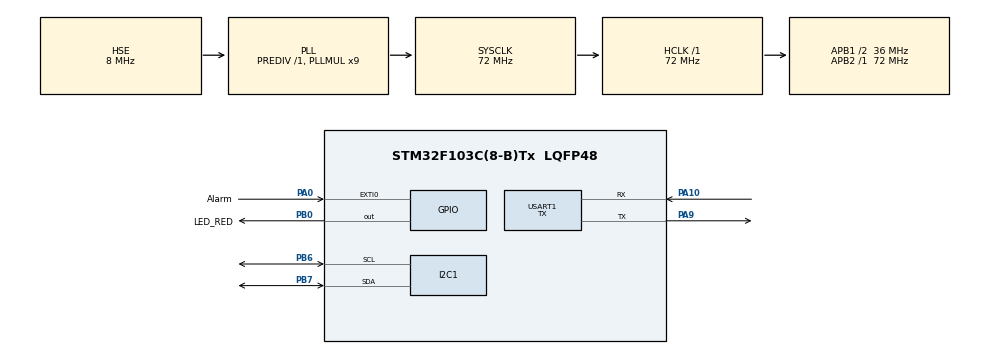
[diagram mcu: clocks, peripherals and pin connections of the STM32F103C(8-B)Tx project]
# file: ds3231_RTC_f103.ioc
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Mcu.Family=STM32F1
Mcu.Name=STM32F103C(8-B)Tx
Mcu.Package=LQFP48
NVIC.EXTI0_IRQn=true\:0\:0\:false\:false\:true\:true\:true
NVIC.PriorityGroup=NVIC_PRIORITYGROUP_4
PA0-WKUP.GPIO_Label=Alarm
PA0-WKUP.GPIO_ModeDefaultEXTI=GPIO_MODE_IT_FALLING
PA0-WKUP.GPIO_PuPd=GPIO_PULLUP
PA0-WKUP.Signal=GPXTI0
PA10.Mode=Asynchronous
PA10.Signal=USART1_RX
PA13.Mode=Serial_Wire
PA13.Signal=SYS_JTMS-SWDIO
PA14.Mode=Serial_Wire
PA14.Signal=SYS_JTCK-SWCLK
PA9.Mode=Asynchronous
PA9.Signal=USART1_TX
PB0.GPIO_Label=LED_RED
PB0.Signal=GPIO_Output
PB6.Mode=I2C
PB6.Signal=I2C1_SCL
PB7.Mode=I2C
PB7.Signal=I2C1_SDA
PD0-OSC_IN.Mode=HSE-External-Oscillator
PD0-OSC_IN.Signal=RCC_OSC_IN
PD1-OSC_OUT.Mode=HSE-External-Oscillator
PD1-OSC_OUT.Signal=RCC_OSC_OUT
ProjectManager.HeapSize=0x200
ProjectManager.StackSize=0x400
ProjectManager.TargetToolchain=SW4STM32
RCC.AHBFreq_Value=72000000
RCC.APB1CLKDivider=RCC_HCLK_DIV2
RCC.APB1Freq_Value=36000000
RCC.APB1TimFreq_Value=72000000
RCC.APB2Freq_Value=72000000
RCC.APB2TimFreq_Value=72000000
RCC.HCLKFreq_Value=72000000
RCC.PLLMUL=RCC_PLL_MUL9
RCC.PLLSourceVirtual=RCC_PLLSOURCE_HSE
RCC.RTCClockSelection=RCC_RTCCLKSOURCE_HSE_DIV128
RCC.SYSCLKFreq_VALUE=72000000
RCC.SYSCLKSource=RCC_SYSCLKSOURCE_PLLCLK
RCC.USBFreq_Value=72000000
USART1.Mode=MODE_TX
USART1.VirtualMode=VM_ASYNC
VP_RTC_VS_RTC_Activate.Mode=RTC_Enabled
VP_RTC_VS_RTC_Calendar.Mode=RTC_Calendar
board=custom

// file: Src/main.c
/* USER CODE BEGIN Header */
/**
  ******************************************************************************
  * @file           : main.c
  * @brief          : Main program body
  ******************************************************************************
  * @attention
  *
  * <h2><center>&copy; Copyright (c) 2019 STMicroelectronics.
  * All rights reserved.</center></h2>
  *
  * This software component is licensed by ST under BSD 3-Clause license,
  * the "License"; You may not use this file except in compliance with the
  * License. You may obtain a copy of the License at:
  *                        opensource.org/licenses/BSD-3-Clause
  *
  ******************************************************************************
  */
/* USER CODE END Header */
#include "main.h"
#include "i2c.h"
#include "rtc.h"
#include "usart.h"
#include "gpio.h"

/* USER CODE BEGIN Includes */

#include <string.h>
#include "i2c_techmaker_sm.h"
#include "ds3231_sm.h"
	#include <string.h>
	#include <stdio.h>

/* USER CODE END Includes */

void SystemClock_Config(void);

/* USER CODE BEGIN 0 */

volatile uint8_t ds3231_alarm_u8 = 0 ;

/* USER CODE END 0 */

int main(void)
{
  /* USER CODE BEGIN 1 */

	char DataChar[100];
	uint32_t counter_u32 = 0;

	#define ADR_I2C_DS3231 0x68
	RTC_TimeTypeDef TimeSt;
	RTC_DateTypeDef DateSt;

  /* USER CODE END 1 */

  /* MCU Configuration--------------------------------------------------------*/

  /* Reset of all peripherals, Initializes the Flash interface and the Systick. */
  HAL_Init();

  /* Configure the system clock */
  SystemClock_Config();

  /* Initialize all configured peripherals */
  MX_GPIO_Init();
  MX_I2C1_Init();
  MX_RTC_Init();
  MX_USART1_UART_Init();
  /* USER CODE BEGIN 2 */

	sprintf(DataChar,"\r\nDS3231_RTC_f103-2019 v1.2.0 (Alarm)\r\nUART1 for debug started on speed 115200\r\n");
	HAL_UART_Transmit(&huart1, (uint8_t *)DataChar, strlen(DataChar), 100);

	I2Cdev_init(&hi2c1);
	I2C_ScanBusFlow(&hi2c1, &huart1);

//			TimeSt.Seconds = 0x03 ;
//			TimeSt.Minutes = 0x44 ;
//			TimeSt.Hours   = 0x21 ;
//			ds3231_SetTime(ADR_I2C_DS3231, &TimeSt);
//
//			DateSt.Date		= 0x07 ;
//			DateSt.Month	= 0x09 ;	// ???	The century	bit (bit 7 of the month register) is toggled when the years	register overflows from 99 to 00 ???
//			DateSt.Year		= 0x19 ;
//			DateSt.WeekDay	= 0x06 ;
//			ds3231_SetDate(ADR_I2C_DS3231, &DateSt);

	ds3231_GetTime(ADR_I2C_DS3231, &TimeSt);
	ds3231_GetDate(ADR_I2C_DS3231, &DateSt);

//	HAL_RTC_SetTime( &hrtc, &TimeSt, RTC_FORMAT_BIN );
//	HAL_RTC_SetDate( &hrtc, &DateSt, RTC_FORMAT_BIN );

	ds3231_PrintTime(&TimeSt, &huart1);
	ds3231_PrintDate(&DateSt, &huart1);

	//ds3231_Alarm1_SetSeconds(ADR_I2C_DS3231, 0x00);
	ds3231_Alarm1_SetEverySeconds(ADR_I2C_DS3231);
	ds3231_Alarm1_ClearStatusBit(ADR_I2C_DS3231);

  /* USER CODE END 2 */

  /* Infinite loop */
  /* USER CODE BEGIN WHILE */
  while (1)
  {
	  if (ds3231_alarm_u8 == 1)
	  {
			sprintf(DataChar,"\r\n%d) ",  (int)counter_u32 );
			HAL_UART_Transmit(&huart1, (uint8_t *)DataChar, strlen(DataChar), 100);
			counter_u32++;

			HAL_GPIO_TogglePin(LED_RED_GPIO_Port, LED_RED_Pin);

			ds3231_GetTime(ADR_I2C_DS3231, &TimeSt);
			ds3231_GetDate(ADR_I2C_DS3231, &DateSt);

//			HAL_RTC_GetTime( &hrtc, &TimeSt, RTC_FORMAT_BIN );
//			HAL_RTC_GetDate( &hrtc, &DateSt, RTC_FORMAT_BIN );

			ds3231_PrintTime(&TimeSt, &huart1);
			ds3231_PrintDate(&DateSt, &huart1);

			//	HAL_Delay(50);
			ds3231_Alarm1_ClearStatusBit(ADR_I2C_DS3231);
			ds3231_alarm_u8 = 0;
	  }

    /* USER CODE END WHILE */

  }
}

void SystemClock_Config(void)
{
  RCC_OscInitTypeDef RCC_OscInitStruct = {0};
  RCC_ClkInitTypeDef RCC_ClkInitStruct = {0};
  RCC_PeriphCLKInitTypeDef PeriphClkInit = {0};

  /** Initializes the RCC Oscillators according to the specified parameters
  * in the RCC_OscInitTypeDef structure.
  */
  RCC_OscInitStruct.OscillatorType = RCC_OSCILLATORTYPE_HSE;
  RCC_OscInitStruct.HSEState = RCC_HSE_ON;
  RCC_OscInitStruct.HSEPredivValue = RCC_HSE_PREDIV_DIV1;
  RCC_OscInitStruct.HSIState = RCC_HSI_ON;
  RCC_OscInitStruct.PLL.PLLState = RCC_PLL_ON;
  RCC_OscInitStruct.PLL.PLLSource = RCC_PLLSOURCE_HSE;
  RCC_OscInitStruct.PLL.PLLMUL = RCC_PLL_MUL9;
  if (HAL_RCC_OscConfig(&RCC_OscInitStruct) != HAL_OK)
  {
    Error_Handler();
  }
  /** Initializes the CPU, AHB and APB buses clocks
  */
  RCC_ClkInitStruct.ClockType = RCC_CLOCKTYPE_HCLK|RCC_CLOCKTYPE_SYSCLK
                              |RCC_CLOCKTYPE_PCLK1|RCC_CLOCKTYPE_PCLK2;
  RCC_ClkInitStruct.SYSCLKSource = RCC_SYSCLKSOURCE_PLLCLK;
  RCC_ClkInitStruct.AHBCLKDivider = RCC_SYSCLK_DIV1;
  RCC_ClkInitStruct.APB1CLKDivider = RCC_HCLK_DIV2;
  RCC_ClkInitStruct.APB2CLKDivider = RCC_HCLK_DIV1;

  if (HAL_RCC_ClockConfig(&RCC_ClkInitStruct, FLASH_LATENCY_2) != HAL_OK)
  {
    Error_Handler();
  }
  PeriphClkInit.PeriphClockSelection = RCC_PERIPHCLK_RTC;
  PeriphClkInit.RTCClockSelection = RCC_RTCCLKSOURCE_HSE_DIV128;
  if (HAL_RCCEx_PeriphCLKConfig(&PeriphClkInit) != HAL_OK)
  {
    Error_Handler();
  }
}

void Error_Handler(void)
{
}

/************************ (C) COPYRIGHT STMicroelectronics *****END OF FILE****/
